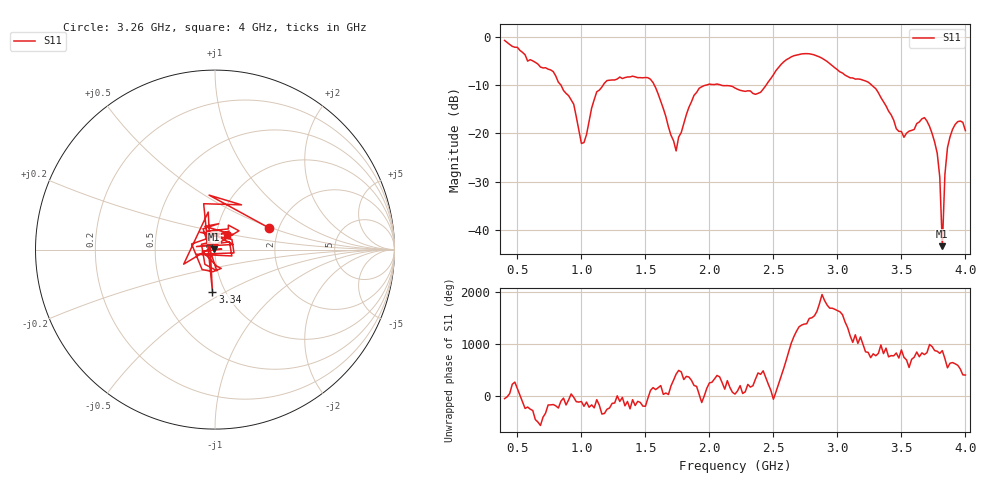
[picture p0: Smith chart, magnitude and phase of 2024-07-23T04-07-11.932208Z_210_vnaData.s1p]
!Created with skrf (http://scikit-rf.org).
# Hz S RI R 50.0
!freq ReS11 ImS11
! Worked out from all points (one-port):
!   181 points, 400 MHz to 4 GHz, reference 50 ohm
!   lowest |S11| = -43.3 dB at 3.82 GHz (marker M1), VSWR 1.01, Z = 49.4 + j0.251 ohm
!   |S11| at or under -10 dB: 1.569 GHz to 1.977 GHz (408 MHz wide, 23 % of centre); 2.089 GHz to 2.444 GHz (354.9 MHz wide, 15.7 % of centre); 3.267 GHz to end of sweep (the widest 3 of 4)
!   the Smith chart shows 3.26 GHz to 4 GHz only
!   S11 on the Smith chart (normalised r, x): 3.26 GHz: 1.77, +0.48; 3.34 GHz: 0.87, -0.43; 4 GHz: 1.13, +0.19
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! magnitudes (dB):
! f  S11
! 400 MHz  -0.8
! 780 MHz  -7.2
! 860 MHz  -11.1
! 940 MHz  -14.0
! 1 GHz  -22.1
! 1.12 GHz  -11.4
! 1.3 GHz  -8.3
! 1.54 GHz  -8.8
! 1.74 GHz  -23.6
! 1.76 GHz  -20.8
! 1.92 GHz  -10.7
! 2.2 GHz  -10.6
! 2.4 GHz  -11.5
! 2.66 GHz  -3.9
! 2.86 GHz  -4.2
! 3.1 GHz  -8.5
! 3.26 GHz  -9.8
! 3.34 GHz  -12.6
! 3.46 GHz  -19.0
! 3.56 GHz  -19.5
! 3.68 GHz  -16.7
! 3.76 GHz  -21.8
! 3.8 GHz  -29.1
! 3.82 GHz  -43.3
! 3.84 GHz  -28.5
! 3.86 GHz  -23.0
! 3.94 GHz  -17.6
! 4 GHz  -19.4
